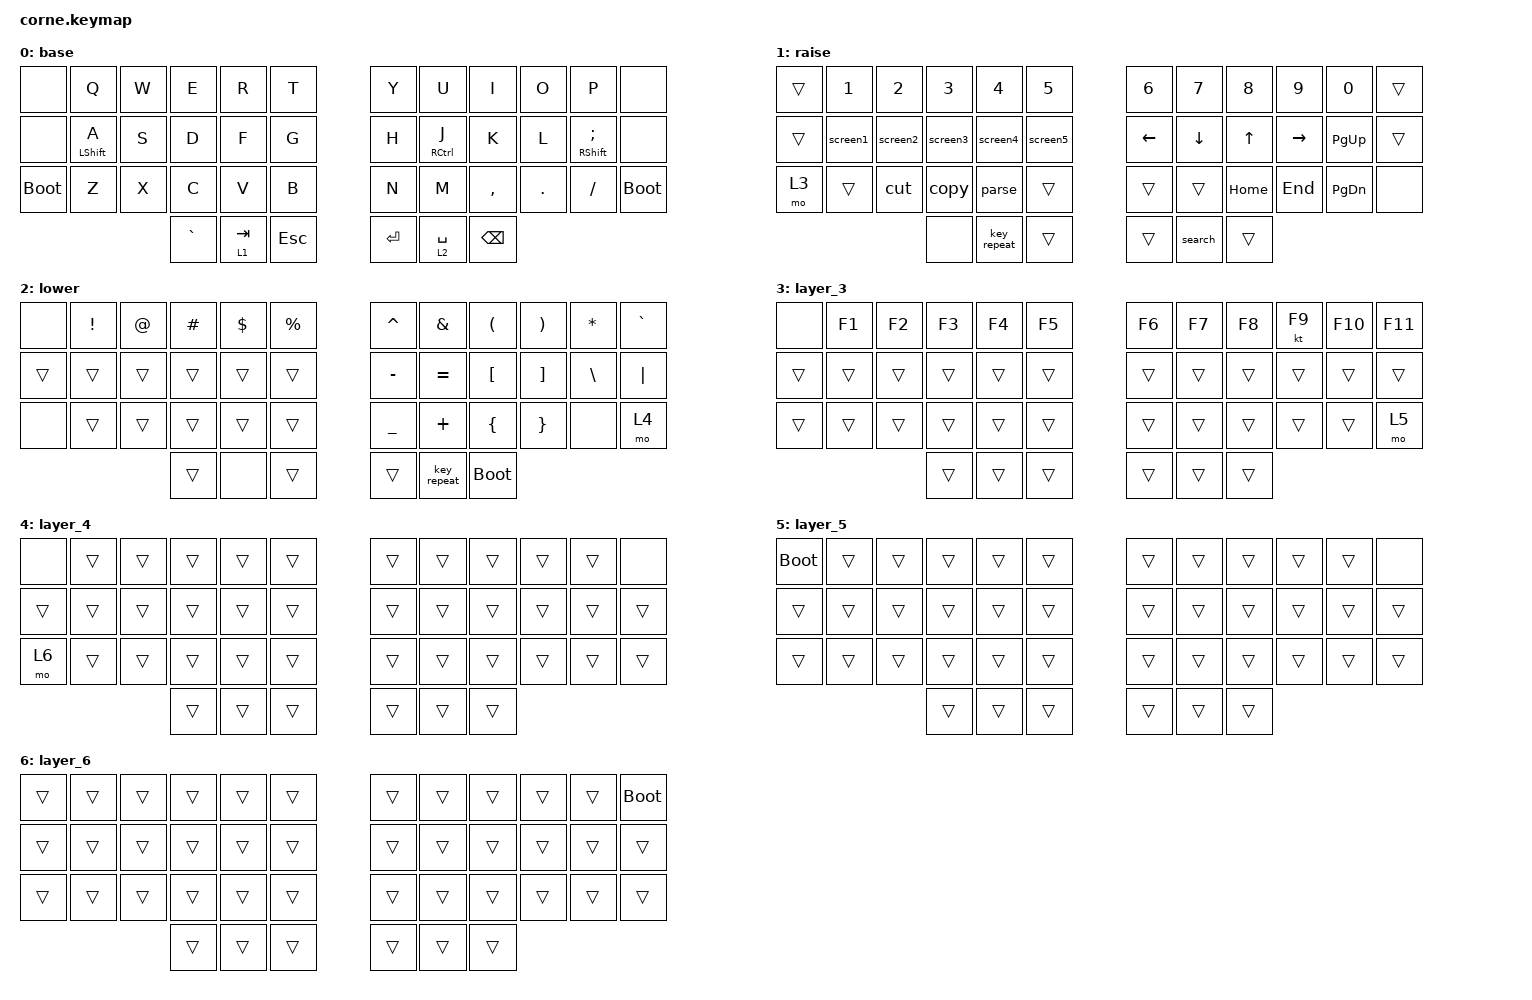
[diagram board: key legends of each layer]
/*
 * Copyright (c) 2020 The ZMK Contributors
 *
 * SPDX-License-Identifier: MIT
 */

#include <behaviors.dtsi>
#include <dt-bindings/zmk/keys.h>
#include <dt-bindings/zmk/keys.h>

// dt-formatter: indent = "  "
// dt-formatter: reindentMultilineIntegerCells = "dedent"

/ {
  behaviors {
    hm: homerow_mods {
      compatible = "zmk,behavior-hold-tap";
      label = "HOMEROW_MODS";
      #binding-cells = <2>;
      tapping-term-ms = <100>;
      quick-tap-ms = <0>;
      flavor = "tap-preferred";
      bindings = <&kp>, <&kp>;
    };
  };

  combos { compatible = "zmk,combos"; };

  macros {
    screen1: screen1 {
      compatible = "zmk,behavior-macro";
      label = "SCREEN1";
      #binding-cells = <0>;
      bindings =
        <&macro_press>,
        <&kp LCMD>,
        <&macro_tap>,
        <&kp N1>,
        <&macro_release>,
        <&kp LCMD>;
    };

    screen2: screen2 {
      compatible = "zmk,behavior-macro";
      label = "SCREEN2";
      #binding-cells = <0>;
      bindings =
        <&macro_press>,
        <&kp LCMD>,
        <&macro_tap>,
        <&kp NUMBER_2>,
        <&macro_release>,
        <&kp LCMD>;
    };

    screen3: screen3 {
      compatible = "zmk,behavior-macro";
      label = "SCREEN3";
      #binding-cells = <0>;
      bindings =
        <&macro_press>,
        <&kp LCMD>,
        <&macro_tap>,
        <&kp N3>,
        <&macro_release>,
        <&kp LCMD>;
    };

    screen4: screen4 {
      compatible = "zmk,behavior-macro";
      label = "SCREEN4";
      #binding-cells = <0>;
      bindings =
        <&macro_press>,
        <&kp LCMD>,
        <&macro_tap>,
        <&kp N4>,
        <&macro_release>,
        <&kp LCMD>;
    };

    screen5: screen5 {
      compatible = "zmk,behavior-macro";
      label = "SCREEN5";
      #binding-cells = <0>;
      bindings =
        <&macro_press>,
        <&kp LCMD>,
        <&macro_tap>,
        <&kp N5>,
        <&macro_release>,
        <&kp LCMD>;
    };

    search: search {
      compatible = "zmk,behavior-macro";
      label = "SEARCH";
      #binding-cells = <0>;
      bindings =
        <&macro_press>,
        <&kp LCMD>,
        <&macro_tap>,
        <&kp SPACE>,
        <&macro_release>,
        <&kp LCMD>;
    };

    copy: copy {
      compatible = "zmk,behavior-macro";
      label = "COPY";
      #binding-cells = <0>;
      bindings =
        <&macro_press>,
        <&kp LCMD>,
        <&macro_tap>,
        <&kp C>,
        <&macro_release>,
        <&kp LCMD>;
    };

    parse: parse {
      compatible = "zmk,behavior-macro";
      label = "PARSE";
      #binding-cells = <0>;
      bindings =
        <&macro_press>,
        <&kp LCMD>,
        <&macro_tap>,
        <&kp V>,
        <&macro_release>,
        <&kp LCMD>;
    };

    cut: cut {
      compatible = "zmk,behavior-macro";
      label = "CUT";
      #binding-cells = <0>;
      bindings =
        <&macro_press>,
        <&kp LCMD>,
        <&macro_tap>,
        <&kp X>,
        <&macro_release>,
        <&kp LCMD>;
    };
  };

  keymap {
    compatible = "zmk,keymap";

    base {
      bindings = <
&none        &kp Q         &kp W  &kp E      &kp R      &kp T         &kp Y    &kp U        &kp I          &kp O    &kp P                 &none
&none        &hm LSHIFT A  &kp S  &kp D      &kp F      &kp G         &kp H    &hm RCTRL J  &kp K          &kp L    &hm RSHIFT SEMICOLON  &none
&bootloader  &kp Z         &kp X  &kp C      &kp V      &kp B         &kp N    &kp M        &kp COMMA      &kp DOT  &kp FSLH              &bootloader
                                  &kp GRAVE  &lt 1 TAB  &kp ESCAPE    &kp RET  &lt 2 SPACE  &kp BACKSPACE
      >;
    };

    raise {
      bindings = <
&trans  &kp N1    &kp N2    &kp N3    &kp N4       &kp N5      &kp N6    &kp N7    &kp N8    &kp N9     &kp N0         &trans
&trans  &screen1  &screen2  &screen3  &screen4     &screen5    &kp LEFT  &kp DOWN  &kp UP    &kp RIGHT  &kp PAGE_UP    &trans
&mo 3   &trans    &cut      &copy     &parse       &trans      &trans    &trans    &kp HOME  &kp END    &kp PAGE_DOWN  &none
                            &none     &key_repeat  &trans      &trans    &search   &trans
      >;
    };

    lower {
      bindings = <
&none   &kp EXCL  &kp AT  &kp HASH  &kp DLLR  &kp PRCNT    &kp CARET  &kp AMPS     &kp LEFT_PARENTHESIS  &kp RIGHT_PARENTHESIS  &kp STAR  &kp GRAVE
&trans  &trans    &trans  &trans    &trans    &trans       &kp MINUS  &kp EQUAL    &kp LBKT              &kp RBKT               &kp BSLH  &kp PIPE
&none   &trans    &trans  &trans    &trans    &trans       &kp UNDER  &kp PLUS     &kp LBRC              &kp RBRC               &none     &mo 4
                          &trans    &none     &trans       &trans     &key_repeat  &bootloader
      >;
    };

    layer_3 {
      bindings = <
&none   &kp F1  &kp F2  &kp F3  &kp F4  &kp F5    &kp F6  &kp F7  &kp F8  &kt F9  &kp F10  &kp F11
&trans  &trans  &trans  &trans  &trans  &trans    &trans  &trans  &trans  &trans  &trans   &trans
&trans  &trans  &trans  &trans  &trans  &trans    &trans  &trans  &trans  &trans  &trans   &mo 5
                        &trans  &trans  &trans    &trans  &trans  &trans
      >;
    };

    layer_4 {
      bindings = <
&none   &trans  &trans  &trans  &trans  &trans    &trans  &trans  &trans  &trans  &trans  &none
&trans  &trans  &trans  &trans  &trans  &trans    &trans  &trans  &trans  &trans  &trans  &trans
&mo 6   &trans  &trans  &trans  &trans  &trans    &trans  &trans  &trans  &trans  &trans  &trans
                        &trans  &trans  &trans    &trans  &trans  &trans
      >;
    };

    layer_5 {
      bindings = <
&bootloader  &trans  &trans  &trans  &trans  &trans    &trans  &trans  &trans  &trans  &trans  &none
&trans       &trans  &trans  &trans  &trans  &trans    &trans  &trans  &trans  &trans  &trans  &trans
&trans       &trans  &trans  &trans  &trans  &trans    &trans  &trans  &trans  &trans  &trans  &trans
                             &trans  &trans  &trans    &trans  &trans  &trans
      >;
    };

    layer_6 {
      bindings = <
&trans  &trans  &trans  &trans  &trans  &trans    &trans  &trans  &trans  &trans  &trans  &bootloader
&trans  &trans  &trans  &trans  &trans  &trans    &trans  &trans  &trans  &trans  &trans  &trans
&trans  &trans  &trans  &trans  &trans  &trans    &trans  &trans  &trans  &trans  &trans  &trans
                        &trans  &trans  &trans    &trans  &trans  &trans
      >;
    };
  };
};
